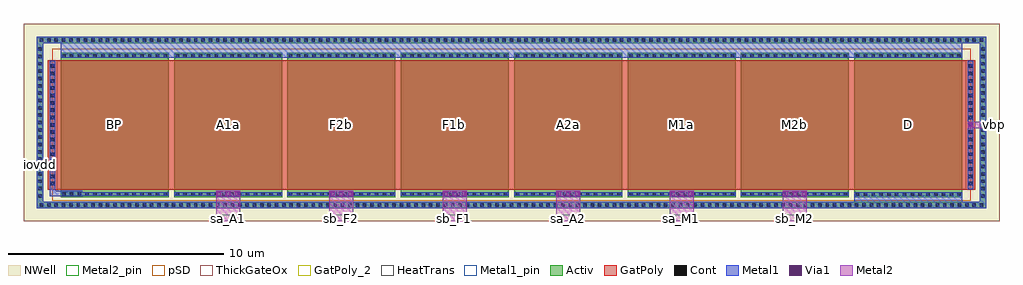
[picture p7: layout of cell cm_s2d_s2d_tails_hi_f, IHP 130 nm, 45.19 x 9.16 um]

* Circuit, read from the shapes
.subckt cm_s2d_s2d_tails_hi_f iovdd sa_A1 sa_A2 sa_M1 sb_F1 sb_F2 sb_M2 vbp
XM1 iovdd vbp vbp iovdd sg13_hv_pmos w=5u l=6u
XM2 iovdd vbp sa_A1 iovdd sg13_hv_pmos w=5u l=6u
XM3 iovdd vbp sb_F2 iovdd sg13_hv_pmos w=5u l=6u
XM4 iovdd vbp sb_F1 iovdd sg13_hv_pmos w=5u l=6u
XM5 iovdd vbp sa_A2 iovdd sg13_hv_pmos w=5u l=6u
XM6 iovdd vbp sa_M1 iovdd sg13_hv_pmos w=5u l=6u
XM7 iovdd vbp sb_M2 iovdd sg13_hv_pmos w=5u l=6u
XM8 iovdd vbp iovdd iovdd sg13_hv_pmos w=5u l=6u
.ends

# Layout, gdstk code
from math import pi, radians
import gdstk
lib = gdstk.Library(unit=1e-6, precision=1e-09)
def R(c, l, rs):  # rectangles x0, y0, x1, y1
    for r in rs: c.add(gdstk.rectangle(r[:2], r[2:], *l))
def A(c, l, x, y, w, h, nx, ny, dx, dy):  # array of equal rectangles
    R(c, l, [(x+i*dx, y+j*dy, x+i*dx+w, y+j*dy+h) for i in range(nx) for j in range(ny)])
Activ = (1, 0)
GatPoly = (5, 0)
GatPoly_2 = (5, 2)
Cont = (6, 0)
Metal1 = (8, 0)
Metal1_pin = (8, 2)
Metal2 = (10, 0)
Metal2_pin = (10, 2)
pSD = (14, 0)
Via1 = (19, 0)
NWell = (31, 0)
ThickGateOx = (44, 0)
HeatTrans = (51, 0)

cm_s2d_pmoshv_w5_l6 = lib.new_cell('cm_s2d_pmosHV_w5_l6')
R(cm_s2d_pmoshv_w5_l6, Activ, [(0,0,0.3,0.3), (0,0,6.68,5), (6.38,0,6.68,0.3)])
R(cm_s2d_pmoshv_w5_l6, GatPoly, [(0.34,-0.18,6.34,5.18)])
R(cm_s2d_pmoshv_w5_l6, GatPoly_2, [(0.34,-0.18,6.34,5.18)])
A(cm_s2d_pmoshv_w5_l6, Cont, 0.07, 0.07, 0.16, 0.16, 1, 4, 0, 0.36)
A(cm_s2d_pmoshv_w5_l6, Cont, 6.45, 0.07, 0.16, 0.16, 1, 4, 0, 0.36)
A(cm_s2d_pmoshv_w5_l6, Cont, 0.07, 1.515, 0.16, 0.16, 1, 3, 0, 0.36)
A(cm_s2d_pmoshv_w5_l6, Cont, 6.45, 1.515, 0.16, 0.16, 1, 3, 0, 0.36)
A(cm_s2d_pmoshv_w5_l6, Cont, 0.07, 2.6, 0.16, 0.16, 1, 3, 0, 0.36)
A(cm_s2d_pmoshv_w5_l6, Cont, 6.45, 2.6, 0.16, 0.16, 1, 3, 0, 0.36)
A(cm_s2d_pmoshv_w5_l6, Cont, 0.07, 3.685, 0.16, 0.16, 1, 3, 0, 0.36)
A(cm_s2d_pmoshv_w5_l6, Cont, 6.45, 3.685, 0.16, 0.16, 1, 3, 0, 0.36)
R(cm_s2d_pmoshv_w5_l6, Cont, [(0.07,4.77,0.23,4.93), (6.45,4.77,6.61,4.93)])
R(cm_s2d_pmoshv_w5_l6, Metal1, [(0.07,0,0.23,5), (6.45,0,6.61,5)])
R(cm_s2d_pmoshv_w5_l6, Metal1_pin, [(0.07,0,0.23,5), (6.45,0,6.61,5)])
R(cm_s2d_pmoshv_w5_l6, pSD, [(-0.18,-0.4,6.86,5.4)])
R(cm_s2d_pmoshv_w5_l6, NWell, [(-0.62,-0.62,7.3,5.62)])
R(cm_s2d_pmoshv_w5_l6, ThickGateOx, [(-0.62,-0.62,7.3,5.62)])
R(cm_s2d_pmoshv_w5_l6, HeatTrans, [(0.34,-0.18,6.34,5.18)])
cm_s2d_pmoshv_w5_l6.add(gdstk.Label('pmosHV', (3.34,2.5), layer=63, texttype=0))
cm_s2d_pmoshv_w5_l6.add(gdstk.Label('pmos', (3.34,2.5), layer=51, texttype=0))

cm_s2d_s2d_tails_hi_f = lib.new_cell('cm_s2d_s2d_tails_hi_f')
R(cm_s2d_s2d_tails_hi_f, Activ, [(0.62,0.62,44.57,0.92), (0.62,0.92,0.92,8.24), (44.27,0.92,44.57,8.24), (0.62,8.24,44.57,8.54)])
R(cm_s2d_s2d_tails_hi_f, GatPoly, [(1.12,1.47,1.72,7.47), (43.47,1.47,44.07,7.47)])
A(cm_s2d_s2d_tails_hi_f, Cont, 0.755, 0.69, 0.16, 0.16, 129, 2, 0.34, 7.62)
A(cm_s2d_s2d_tails_hi_f, Cont, 0.69, 1.1, 0.16, 0.16, 1, 21, 0, 0.34)
A(cm_s2d_s2d_tails_hi_f, Cont, 44.34, 1.1, 0.16, 0.16, 1, 21, 0, 0.34)
A(cm_s2d_s2d_tails_hi_f, Cont, 1.26, 1.67, 0.16, 0.16, 1, 17, 0, 0.34)
A(cm_s2d_s2d_tails_hi_f, Cont, 43.77, 1.67, 0.16, 0.16, 1, 17, 0, 0.34)
A(cm_s2d_s2d_tails_hi_f, Metal1, 8.915, 1.14, 1.11, 0.29, 6, 1, 5.25, 0)
R(cm_s2d_s2d_tails_hi_f, Metal1, [(0.62,0.62,44.57,0.92), (0.62,0.92,0.92,8.24), (38.47,0.92,43.47,1.36), (44.27,0.92,44.57,8.24), (1.21,1.16,1.47,1.5), (1.21,1.16,2.72,1.42), (1.21,1.49,1.47,7.45), (43.72,1.49,43.98,7.45), (1.72,7.58,43.47,8.54), (0.62,8.24,44.57,8.54)])
R(cm_s2d_s2d_tails_hi_f, Metal1_pin, [(0.62,1.63,0.92,3.63)])
A(cm_s2d_s2d_tails_hi_f, Metal2, 8.915, 0, 1.11, 1.43, 6, 1, 5.25, 0)
R(cm_s2d_s2d_tails_hi_f, Metal2, [(43.72,4.32,45.19,4.62)])
A(cm_s2d_s2d_tails_hi_f, Metal2_pin, 8.915, 0, 1.11, 0.3, 6, 1, 5.25, 0)
R(cm_s2d_s2d_tails_hi_f, Metal2_pin, [(44.69,4.32,45.19,4.62)])
A(cm_s2d_s2d_tails_hi_f, Via1, 8.965, 1.19, 0.19, 0.19, 3, 1, 0.41, 0)
A(cm_s2d_s2d_tails_hi_f, Via1, 14.215, 1.19, 0.19, 0.19, 3, 1, 0.41, 0)
A(cm_s2d_s2d_tails_hi_f, Via1, 19.465, 1.19, 0.19, 0.19, 3, 1, 0.41, 0)
A(cm_s2d_s2d_tails_hi_f, Via1, 24.715, 1.19, 0.19, 0.19, 3, 1, 0.41, 0)
A(cm_s2d_s2d_tails_hi_f, Via1, 29.965, 1.19, 0.19, 0.19, 3, 1, 0.41, 0)
A(cm_s2d_s2d_tails_hi_f, Via1, 35.215, 1.19, 0.19, 0.19, 3, 1, 0.41, 0)
R(cm_s2d_s2d_tails_hi_f, Via1, [(43.755,4.375,43.945,4.565)])
R(cm_s2d_s2d_tails_hi_f, NWell, [(0,0,45.19,9.16)])
R(cm_s2d_s2d_tails_hi_f, ThickGateOx, [(0,0,45.19,9.16)])
cm_s2d_s2d_tails_hi_f.add(gdstk.Reference(cm_s2d_pmoshv_w5_l6, (1.72,7.81), rotation=3*pi/2))
cm_s2d_s2d_tails_hi_f.add(gdstk.Reference(cm_s2d_pmoshv_w5_l6, (6.97,7.81), rotation=3*pi/2))
cm_s2d_s2d_tails_hi_f.add(gdstk.Reference(cm_s2d_pmoshv_w5_l6, (12.22,7.81), rotation=3*pi/2))
cm_s2d_s2d_tails_hi_f.add(gdstk.Reference(cm_s2d_pmoshv_w5_l6, (17.47,7.81), rotation=3*pi/2))
cm_s2d_s2d_tails_hi_f.add(gdstk.Reference(cm_s2d_pmoshv_w5_l6, (27.72,7.81), rotation=3*pi/2, x_reflection=True))
cm_s2d_s2d_tails_hi_f.add(gdstk.Reference(cm_s2d_pmoshv_w5_l6, (32.97,7.81), rotation=3*pi/2, x_reflection=True))
cm_s2d_s2d_tails_hi_f.add(gdstk.Reference(cm_s2d_pmoshv_w5_l6, (38.22,7.81), rotation=3*pi/2, x_reflection=True))
cm_s2d_s2d_tails_hi_f.add(gdstk.Reference(cm_s2d_pmoshv_w5_l6, (43.47,7.81), rotation=3*pi/2, x_reflection=True))
cm_s2d_s2d_tails_hi_f.add(gdstk.Label('BP', (4.22,4.47), layer=63, texttype=0))
cm_s2d_s2d_tails_hi_f.add(gdstk.Label('A1a', (9.47,4.47), layer=63, texttype=0))
cm_s2d_s2d_tails_hi_f.add(gdstk.Label('F2b', (14.72,4.47), layer=63, texttype=0))
cm_s2d_s2d_tails_hi_f.add(gdstk.Label('F1b', (19.97,4.47), layer=63, texttype=0))
cm_s2d_s2d_tails_hi_f.add(gdstk.Label('A2a', (25.22,4.47), layer=63, texttype=0))
cm_s2d_s2d_tails_hi_f.add(gdstk.Label('M1a', (30.47,4.47), layer=63, texttype=0))
cm_s2d_s2d_tails_hi_f.add(gdstk.Label('M2b', (35.72,4.47), layer=63, texttype=0))
cm_s2d_s2d_tails_hi_f.add(gdstk.Label('D', (40.97,4.47), layer=63, texttype=0))
cm_s2d_s2d_tails_hi_f.add(gdstk.Label('iovdd', (0.77,2.63), layer=8, texttype=25))
cm_s2d_s2d_tails_hi_f.add(gdstk.Label('sa_A1', (9.47,0.15), layer=10, texttype=25))
cm_s2d_s2d_tails_hi_f.add(gdstk.Label('sb_F2', (14.72,0.15), layer=10, texttype=25))
cm_s2d_s2d_tails_hi_f.add(gdstk.Label('sb_F1', (19.97,0.15), layer=10, texttype=25))
cm_s2d_s2d_tails_hi_f.add(gdstk.Label('sa_A2', (25.22,0.15), layer=10, texttype=25))
cm_s2d_s2d_tails_hi_f.add(gdstk.Label('sa_M1', (30.47,0.15), layer=10, texttype=25))
cm_s2d_s2d_tails_hi_f.add(gdstk.Label('sb_M2', (35.72,0.15), layer=10, texttype=25))
cm_s2d_s2d_tails_hi_f.add(gdstk.Label('vbp', (44.94,4.47), layer=10, texttype=25))

lib.write_gds('cm_s2d_s2d_tails_hi_f.gds')
